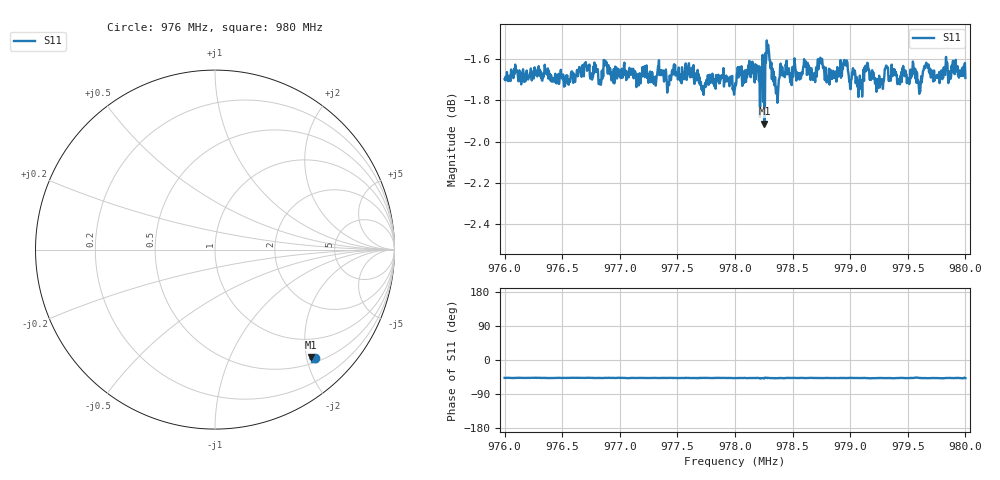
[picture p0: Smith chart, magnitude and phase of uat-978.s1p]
! Calibrated averaged scanner-service zoom
# Hz S RI R 50
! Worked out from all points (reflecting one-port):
!   1001 points, 976 MHz to 980 MHz, reference 50 ohm
!   lowest |S11| = -1.9 dB at 978.256 MHz (marker M1), VSWR 9.12, Z = 31.1 - j104 ohm
!   phase of S11 starts at -47 deg and turns -1 deg over the sweep
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9.76e8  0.5595 -0.603
9.765e8  0.5581 -0.6056
9.76724e8  0.5651 -0.6044
9.76792e8  0.5588 -0.6126
9.77e8  0.5613 -0.6031
9.77072e8  0.5562 -0.6102
9.77428e8  0.5608 -0.598
9.775e8  0.5561 -0.6093
9.77672e8  0.5512 -0.6129
9.77736e8  0.5533 -0.6037
9.78e8  0.5497 -0.6064
9.7814e8  0.56 -0.6131
9.78236e8  0.557 -0.6102
9.78256e8  0.5355 -0.5976
9.78284e8  0.5696 -0.6138
9.78352e8  0.5529 -0.6037
9.785e8  0.5623 -0.6082
9.78748e8  0.5594 -0.613
9.788e8  0.5565 -0.605
9.7896e8  0.5581 -0.6137
9.79e8  0.5562 -0.6
9.79168e8  0.5511 -0.6107
9.79248e8  0.554 -0.6068
9.795e8  0.5534 -0.6083
9.79572e8  0.5695 -0.5988
9.79616e8  0.5559 -0.6082
9.79656e8  0.5594 -0.6124
9.8e8  0.5534 -0.6094
